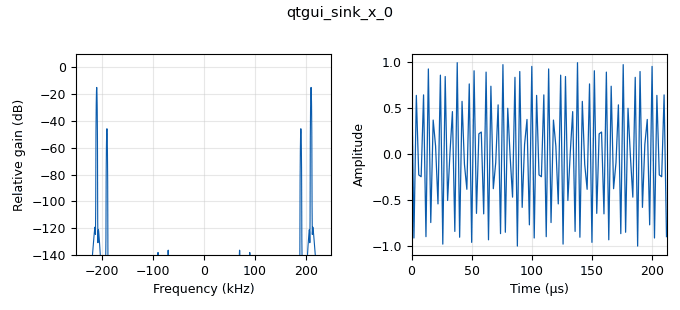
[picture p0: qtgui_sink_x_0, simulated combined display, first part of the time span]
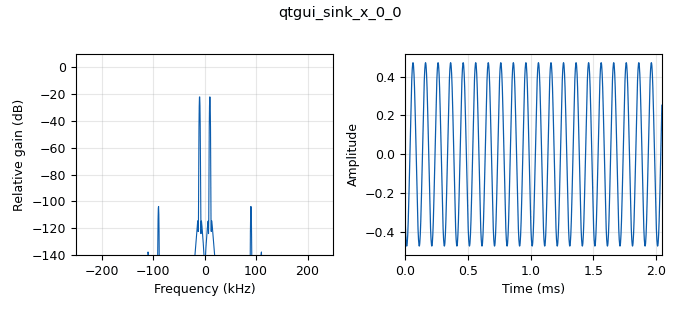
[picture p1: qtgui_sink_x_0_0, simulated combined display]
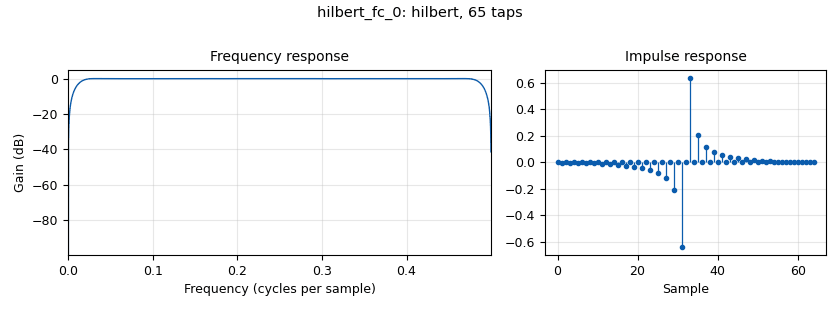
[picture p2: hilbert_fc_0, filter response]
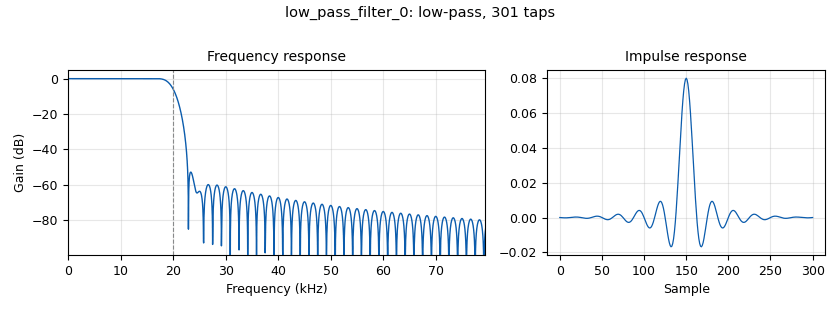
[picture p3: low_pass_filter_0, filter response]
options:
  parameters:
    generate_options: qt_gui
    id: ssb_sc
    output_language: python
    title: Not titled yet
  states: {}

blocks:
- name: audio_rate
  id: variable
  parameters:
    value: '48000'
  states: {}
- name: quadrature_rate
  id: variable
  parameters:
    value: '960000'
  states: {}
- name: samp_rate
  id: variable
  parameters:
    value: '500000'
  states: {}
- name: analog_sig_source_x_2_0
  id: analog_sig_source_x
  parameters:
    amp: '1'
    freq: '10000'
    offset: '0'
    phase: '0'
    samp_rate: samp_rate
    type: float
    waveform: analog.GR_SIN_WAVE
  states: {}
- name: analog_sig_source_x_2_0_0
  id: analog_sig_source_x
  parameters:
    amp: '1'
    freq: '200000'
    offset: '0'
    phase: '0'
    samp_rate: samp_rate
    type: float
    waveform: analog.GR_COS_WAVE
  states: {}
- name: analog_sig_source_x_2_0_0_0
  id: analog_sig_source_x
  parameters:
    amp: '1'
    freq: '200000'
    offset: '0'
    phase: '1.57'
    samp_rate: samp_rate
    type: float
    waveform: analog.GR_COS_WAVE
  states: {}
- name: audio_sink_2_0
  id: audio_sink
  parameters:
    device_name: hw:0,0
    samp_rate: '32000'
  states: {}
- name: blocks_add_xx_0
  id: blocks_add_xx
  parameters:
    type: float
  states: {}
- name: blocks_complex_to_imag_0
  id: blocks_complex_to_imag
  parameters: {}
  states: {}
- name: blocks_complex_to_real_0
  id: blocks_complex_to_real
  parameters: {}
  states: {}
- name: blocks_multiply_xx_0
  id: blocks_multiply_xx
  parameters:
    type: float
  states: {}
- name: blocks_multiply_xx_1
  id: blocks_multiply_xx
  parameters:
    type: float
  states: {}
- name: blocks_multiply_xx_1_0
  id: blocks_multiply_xx
  parameters:
    type: float
  states: {}
- name: hilbert_fc_0
  id: hilbert_fc
  parameters:
    num_taps: '65'
  states: {}
- name: low_pass_filter_0
  id: low_pass_filter
  parameters:
    cutoff_freq: '20000'
    decim: '1'
    gain: '1'
    samp_rate: samp_rate
    type: fir_filter_fff
    width: '4000'
    win: window.WIN_HAMMING
  states: {}
- name: qtgui_sink_x_0
  id: qtgui_sink_x
  parameters:
    bw: samp_rate
    fc: '0'
    fftsize: '1024'
    gui_hint: tab@0
    type: float
  states: {}
- name: qtgui_sink_x_0_0
  id: qtgui_sink_x
  parameters:
    bw: samp_rate
    fc: '0'
    fftsize: '1024'
    gui_hint: tab@1
    type: float
  states: {}
- name: tab
  id: qtgui_tab_widget
  parameters:
    label0: Modulated
    label1: Demodulated
    num_tabs: '2'
  states: {}

connections:
- [analog_sig_source_x_2_0, '0', hilbert_fc_0, '0']
- [analog_sig_source_x_2_0_0, '0', blocks_multiply_xx_0, '0']
- [analog_sig_source_x_2_0_0_0, '0', blocks_multiply_xx_1, '1']
- [analog_sig_source_x_2_0_0_0, '0', blocks_multiply_xx_1_0, '1']
- [blocks_add_xx_0, '0', blocks_multiply_xx_1_0, '0']
- [blocks_add_xx_0, '0', qtgui_sink_x_0, '0']
- [blocks_complex_to_imag_0, '0', blocks_multiply_xx_1, '0']
- [blocks_complex_to_real_0, '0', blocks_multiply_xx_0, '1']
- [blocks_multiply_xx_0, '0', blocks_add_xx_0, '0']
- [blocks_multiply_xx_1, '0', blocks_add_xx_0, '1']
- [blocks_multiply_xx_1_0, '0', low_pass_filter_0, '0']
- [hilbert_fc_0, '0', blocks_complex_to_imag_0, '0']
- [hilbert_fc_0, '0', blocks_complex_to_real_0, '0']
- [low_pass_filter_0, '0', audio_sink_2_0, '0']
- [low_pass_filter_0, '0', qtgui_sink_x_0_0, '0']

metadata:
  file_format: 1
  grc_version: 3.10.3.0
